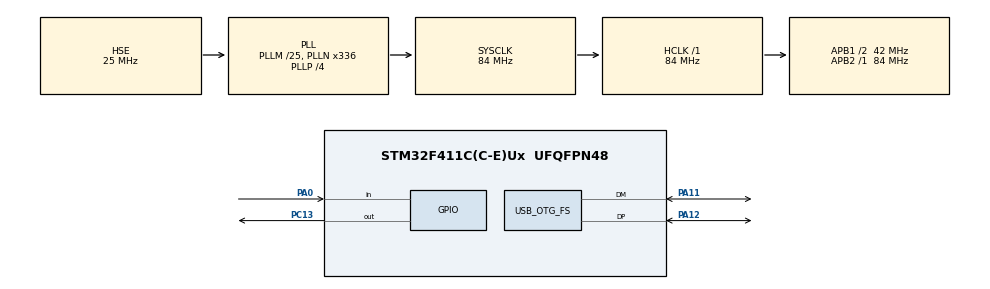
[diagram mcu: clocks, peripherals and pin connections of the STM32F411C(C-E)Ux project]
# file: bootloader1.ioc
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Mcu.Family=STM32F4
Mcu.Name=STM32F411C(C-E)Ux
Mcu.Package=UFQFPN48
NVIC.OTG_FS_IRQn=true\:0\:0\:false\:false\:true\:false\:true\:true
NVIC.PriorityGroup=NVIC_PRIORITYGROUP_4
PA0-WKUP.Signal=GPIO_Input
PA11.Mode=Device_Only
PA11.Signal=USB_OTG_FS_DM
PA12.Mode=Device_Only
PA12.Signal=USB_OTG_FS_DP
PA13.Mode=Serial_Wire
PA13.Signal=SYS_JTMS-SWDIO
PA14.Mode=Serial_Wire
PA14.Signal=SYS_JTCK-SWCLK
PC13-ANTI_TAMP.Signal=GPIO_Output
PH0\ -\ OSC_IN.Mode=HSE-External-Oscillator
PH0\ -\ OSC_IN.Signal=RCC_OSC_IN
PH1\ -\ OSC_OUT.Mode=HSE-External-Oscillator
PH1\ -\ OSC_OUT.Signal=RCC_OSC_OUT
ProjectManager.HeapSize=0x200
ProjectManager.StackSize=0x400
ProjectManager.TargetToolchain=STM32CubeIDE
RCC.48MHZClocksFreq_Value=48000000
RCC.AHBFreq_Value=84000000
RCC.APB1CLKDivider=RCC_HCLK_DIV2
RCC.APB1Freq_Value=42000000
RCC.APB1TimFreq_Value=84000000
RCC.APB2Freq_Value=84000000
RCC.APB2TimFreq_Value=84000000
RCC.CortexFreq_Value=84000000
RCC.HCLKFreq_Value=84000000
RCC.HSE_VALUE=25000000
RCC.HSI_VALUE=16000000
RCC.LSE_VALUE=32768
RCC.PLLM=25
RCC.PLLN=336
RCC.PLLP=RCC_PLLP_DIV4
RCC.PLLQ=7
RCC.SYSCLKFreq_VALUE=84000000
RCC.SYSCLKSource=RCC_SYSCLKSOURCE_PLLCLK
RCC.VCOOutputFreq_Value=336000000
USB_DEVICE.CLASS_NAME_FS=DFU
USB_DEVICE.VirtualMode=Dfu
USB_DEVICE.VirtualModeFS=Dfu_FS
USB_OTG_FS.VirtualMode=Device_Only
VP_USB_DEVICE_VS_USB_DEVICE_DFU_FS.Mode=DFU_FS
board=custom

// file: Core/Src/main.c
/* USER CODE BEGIN Header */
/**
  ******************************************************************************
  * @file           : main.c
  * @brief          : Main program body
  ******************************************************************************
  * @attention
  *
  * Copyright (c) 2025 STMicroelectronics.
  * All rights reserved.
  *
  * This software is licensed under terms that can be found in the LICENSE file
  * in the root directory of this software component.
  * If no LICENSE file comes with this software, it is provided AS-IS.
  *
  ******************************************************************************
  */
/* USER CODE END Header */
#include "main.h"
#include "usb_device.h"

/* USER CODE BEGIN Includes */
#include "bootloader.h"
/* USER CODE END Includes */

void SystemClock_Config(void);
static void MX_GPIO_Init(void);

/* USER CODE BEGIN 0 */
static void bl_led_tick(void)
{
    HAL_GPIO_TogglePin(GPIOC, GPIO_PIN_13);
}
/* USER CODE END 0 */

int main(void)
{

  /* MCU Configuration--------------------------------------------------------*/

  /* Reset of all peripherals, Initializes the Flash interface and the Systick. */
  HAL_Init();

  /* Configure the system clock */
  SystemClock_Config();

  /* Initialize all configured peripherals */
  MX_GPIO_Init();
  MX_USB_DEVICE_Init();
  /* USER CODE BEGIN 2 */

  /* Check if app requested DFU mode via magic flag */
  bool force_dfu = bl_should_enter_dfu();

  /* Always enter DFU mode with timeout window to allow:
   * 1. User to flash new firmware (even if current app is valid)
   * 2. App-requested DFU mode (via magic flag)
   * 3. No valid app case (must stay in DFU)
   */

  uint32_t t0 = HAL_GetTick();

  while (1)
  {
    uint32_t now = HAL_GetTick();

    /* If we had DFU activity, check inactivity timeout */
    if (g_dfu_last_activity != 0) {
      uint32_t inactive_time = now - g_dfu_last_activity;

      /* If inactive for more than threshold, exit to app */
      if (inactive_time >= BL_DFU_INACTIVITY_MS) {
        break;
      }

      /* Still within inactivity window - blink fast to show active */
      bl_led_tick();
      HAL_Delay(100);
      continue;
    }

    /* No activity yet - check initial timeout */
    if ((now - t0) >= BL_DFU_TIMEOUT_MS) {
      break;  /* Initial timeout - try to jump to app */
    }

    /* Still waiting for connection - blink slow */
    bl_led_tick();
    HAL_Delay(300);
  }

  /* Leave DFU window: chain to application if valid, else stay in BL */
  if (bl_app_vector_valid()) {
    bl_jump_to_app();
  } else {
    /* No valid app: stay in DFU mode permanently with slow blink */
    while (1) {
      bl_led_tick();
      HAL_Delay(5000);  /* Slow blink to indicate waiting for firmware */
      /* USB DFU remains active - user can connect anytime to flash */
    }
  }
  /* USER CODE END 2 */

  /* Infinite loop */
  while (1)
  {

  }
}

void SystemClock_Config(void)
{
  RCC_OscInitTypeDef RCC_OscInitStruct = {0};
  RCC_ClkInitTypeDef RCC_ClkInitStruct = {0};

  /** Configure the main internal regulator output voltage
  */
  __HAL_RCC_PWR_CLK_ENABLE();
  __HAL_PWR_VOLTAGESCALING_CONFIG(PWR_REGULATOR_VOLTAGE_SCALE1);

  /** Initializes the RCC Oscillators according to the specified parameters
  * in the RCC_OscInitTypeDef structure.
  */
  RCC_OscInitStruct.OscillatorType = RCC_OSCILLATORTYPE_HSE;
  RCC_OscInitStruct.HSEState = RCC_HSE_ON;
  RCC_OscInitStruct.PLL.PLLState = RCC_PLL_ON;
  RCC_OscInitStruct.PLL.PLLSource = RCC_PLLSOURCE_HSE;
  RCC_OscInitStruct.PLL.PLLM = 25;
  RCC_OscInitStruct.PLL.PLLN = 336;
  RCC_OscInitStruct.PLL.PLLP = RCC_PLLP_DIV4;
  RCC_OscInitStruct.PLL.PLLQ = 7;
  if (HAL_RCC_OscConfig(&RCC_OscInitStruct) != HAL_OK)
  {
    Error_Handler();
  }

  /** Initializes the CPU, AHB and APB buses clocks
  */
  RCC_ClkInitStruct.ClockType = RCC_CLOCKTYPE_HCLK|RCC_CLOCKTYPE_SYSCLK
                              |RCC_CLOCKTYPE_PCLK1|RCC_CLOCKTYPE_PCLK2;
  RCC_ClkInitStruct.SYSCLKSource = RCC_SYSCLKSOURCE_PLLCLK;
  RCC_ClkInitStruct.AHBCLKDivider = RCC_SYSCLK_DIV1;
  RCC_ClkInitStruct.APB1CLKDivider = RCC_HCLK_DIV2;
  RCC_ClkInitStruct.APB2CLKDivider = RCC_HCLK_DIV1;

  if (HAL_RCC_ClockConfig(&RCC_ClkInitStruct, FLASH_LATENCY_2) != HAL_OK)
  {
    Error_Handler();
  }
}

static void MX_GPIO_Init(void)
{
  GPIO_InitTypeDef GPIO_InitStruct = {0};

  /* GPIO Ports Clock Enable */
  __HAL_RCC_GPIOC_CLK_ENABLE();
  __HAL_RCC_GPIOH_CLK_ENABLE();
  __HAL_RCC_GPIOA_CLK_ENABLE();

  /*Configure GPIO pin Output Level */
  HAL_GPIO_WritePin(GPIOC, GPIO_PIN_13, GPIO_PIN_RESET);

  /*Configure GPIO pin : PC13 */
  GPIO_InitStruct.Pin = GPIO_PIN_13;
  GPIO_InitStruct.Mode = GPIO_MODE_OUTPUT_PP;
  GPIO_InitStruct.Pull = GPIO_NOPULL;
  GPIO_InitStruct.Speed = GPIO_SPEED_FREQ_LOW;
  HAL_GPIO_Init(GPIOC, &GPIO_InitStruct);

  /*Configure GPIO pin : PA0 */
  GPIO_InitStruct.Pin = GPIO_PIN_0;
  GPIO_InitStruct.Mode = GPIO_MODE_INPUT;
  GPIO_InitStruct.Pull = GPIO_NOPULL;
  HAL_GPIO_Init(GPIOA, &GPIO_InitStruct);

}

void Error_Handler(void)
{
  __disable_irq();
  while (1)
  {
  }
}
